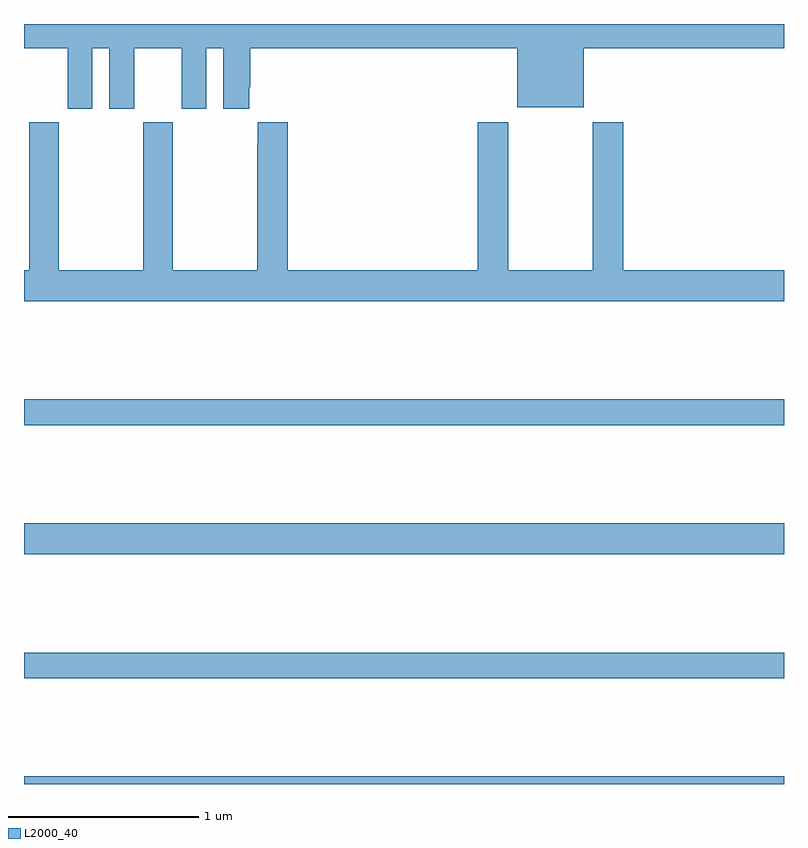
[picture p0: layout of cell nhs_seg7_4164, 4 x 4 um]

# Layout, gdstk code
import gdstk
lib = gdstk.Library(unit=1e-6, precision=1e-09)
def R(c, l, rs):  # rectangles x0, y0, x1, y1
    for r in rs: c.add(gdstk.rectangle(r[:2], r[2:], *l))
def P(c, l, *ps):  # polygons
    for p in ps: c.add(gdstk.Polygon(p, *l))
L2000_40 = (2000, 40)

nhs_seg7_4164 = lib.new_cell('nhs_seg7_4164')
R(nhs_seg7_4164, L2000_40, [(373,1074,377,1074.04), (373,1074.556,377,1074.692), (373,1075.208,377,1075.372), (373,1075.888,377,1076.024)])
P(nhs_seg7_4164, L2000_40, [(373.36,1077.872),(373.448,1077.872),(373.448,1077.555),(373.579,1077.555),(373.579,1077.872),(373.829,1077.872),(373.829,1077.555),(373.96,1077.555),(373.96,1077.872),(374.048,1077.872),(374.048,1077.555),(374.185,1077.555),(374.185,1077.667),(374.192,1077.667),(374.192,1077.872),(375.596,1077.872),(375.596,1077.563),(375.946,1077.563),(375.946,1077.872),(377,1077.872),(377,1078),(373,1078),(373,1077.872),(373.229,1077.872),(373.229,1077.555),(373.36,1077.555)],
  [(377,1076.704),(376.154,1076.704),(376.154,1077.484),(375.994,1077.484),(375.994,1076.704),(375.549,1076.704),(375.549,1077.484),(375.389,1077.484),(375.389,1076.704),(374.387,1076.704),(374.387,1077.484),(374.231,1077.484),(374.231,1077.371),(374.227,1077.371),(374.227,1076.704),(373.782,1076.704),(373.782,1077.484),(373.627,1077.484),(373.627,1076.704),(373.182,1076.704),(373.182,1077.484),(373.027,1077.484),(373.027,1076.704),(373,1076.704),(373,1076.54),(377,1076.54)])

lib.write_gds('nhs_seg7_4164.gds')
